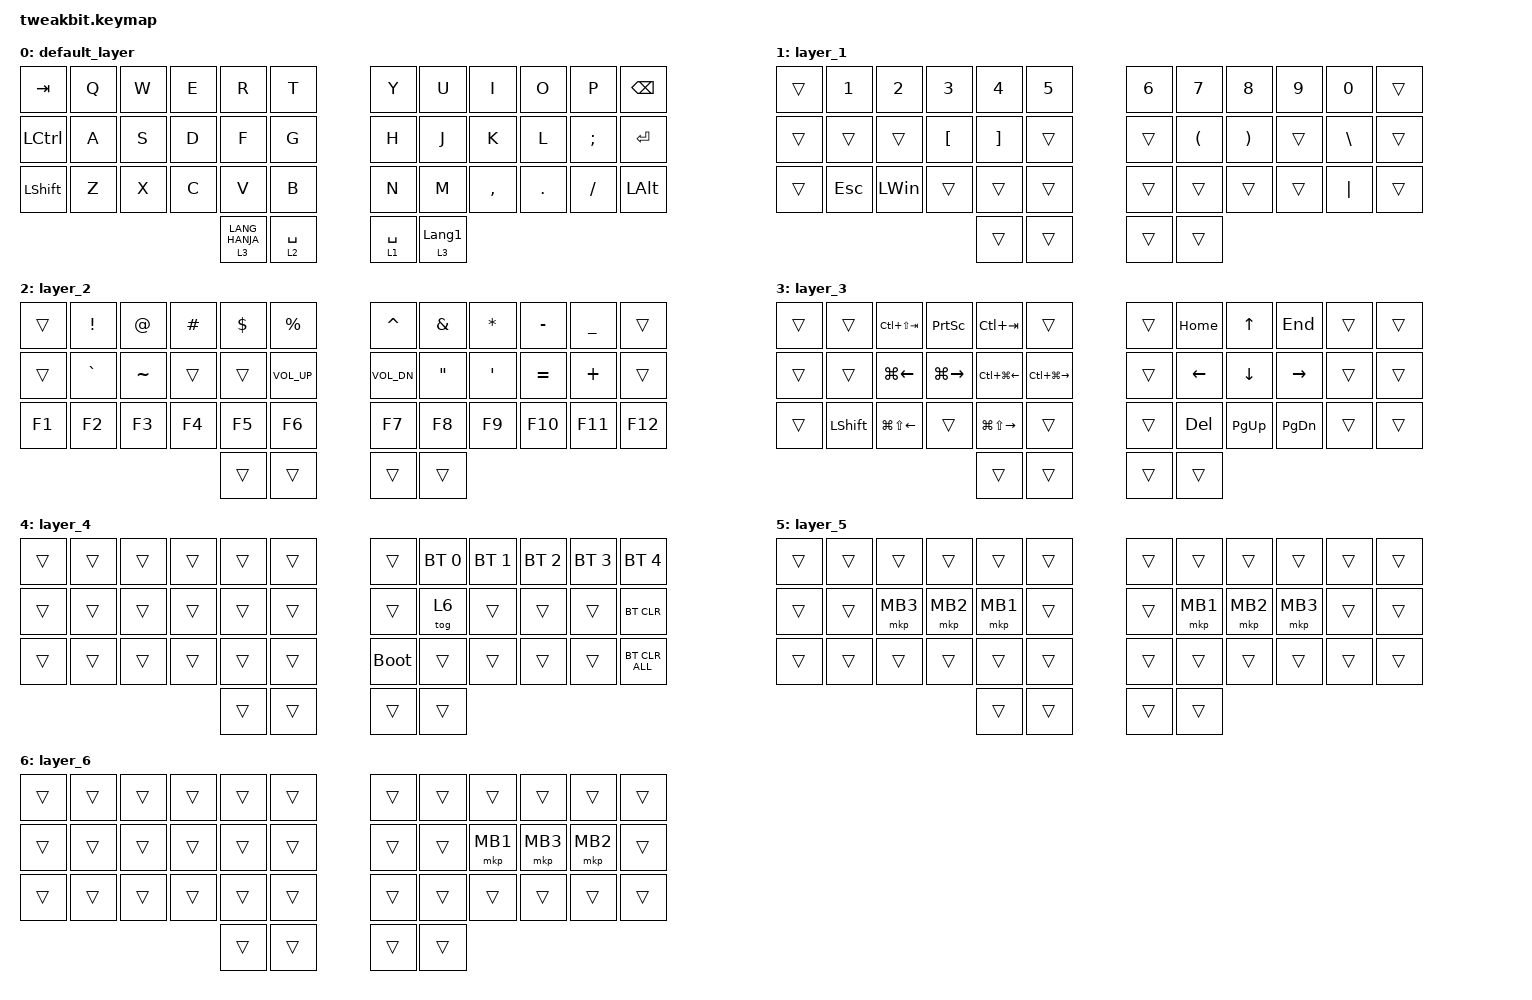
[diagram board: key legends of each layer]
#include <input/processors.dtsi>
#include <dt-bindings/zmk/input_transform.h>
#include <zephyr/dt-bindings/input/input-event-codes.h>
#include <behaviors.dtsi>
#include <dt-bindings/zmk/bt.h>
#include <dt-bindings/zmk/keys.h>
#include <dt-bindings/zmk/pointing.h>

#define ZMK_POINTING_DEFAULT_SCRL_VAL 100
#define MOUSE 5

&mt {
    flavor = "balanced";
    quick-tap-ms = <0>;
};

/ {
    combos {
        compatible = "zmk,combos";

        double_quotation {
            bindings = <&kp DOUBLE_QUOTES>;
            key-positions = <22 21>;
        };

        single_quotation {
            bindings = <&kp SINGLE_QUOTE>;
            key-positions = <21 20>;
        };
    };

    macros {
        to_layer_0: to_layer_0 {
            compatible = "zmk,behavior-macro-one-param";
            #binding-cells = <1>;
            bindings = <&to 0 &macro_param_1to1 &kp MACRO_PLACEHOLDER>;
            label = "TO_LAYER_0";
        };
    };

    behaviors {
        lt_to_layer_0: lt_to_layer_0 {
            compatible = "zmk,behavior-hold-tap";
            label = "LAYER_TAP_TO_0";
            bindings = <&mo>, <&to_layer_0>;

            #binding-cells = <2>;
            tapping-term-ms = <200>;
        };
    };

    keymap {
        compatible = "zmk,keymap";

        default_layer {
            bindings = <
&kp TAB         &kp Q  &kp W  &kp E  &kp R                        &kp T          &kp Y        &kp U                        &kp I      &kp O    &kp P          &kp BACKSPACE
&kp LCTRL       &kp A  &kp S  &kp D  &kp F                        &kp G          &kp H        &kp J                        &kp K      &kp L    &kp SEMICOLON  &kp ENTER
&kp LEFT_SHIFT  &kp Z  &kp X  &kp C  &kp V                        &kp B          &kp N        &kp M                        &kp COMMA  &kp DOT  &kp SLASH      &kp LEFT_ALT
                                     &lt_to_layer_0 3 LANG_HANJA  &lt 2 SPACE    &lt 1 SPACE  &lt_to_layer_0 3 LANGUAGE_1
            >;
        };

        layer_1 {
            bindings = <
&trans  &kp NUMBER_1  &kp NUMBER_2  &kp NUMBER_3      &kp NUMBER_4       &kp NUMBER_5    &kp NUMBER_6  &kp NUMBER_7          &kp NUMBER_8           &kp NUMBER_9  &kp NUMBER_0   &trans
&trans  &trans        &trans        &kp LEFT_BRACKET  &kp RIGHT_BRACKET  &trans          &trans        &kp LEFT_PARENTHESIS  &kp RIGHT_PARENTHESIS  &trans        &kp BACKSLASH  &trans
&trans  &kp ESC       &kp LEFT_WIN  &trans            &trans             &trans          &trans        &trans                &trans                 &trans        &kp PIPE       &trans
                                                      &trans             &trans          &trans        &trans
            >;
        };

        layer_2 {
            bindings = <
&trans  &kp EXCLAMATION  &kp AT_SIGN  &kp POUND  &kp DOLLAR  &kp PERCENT     &kp CARET     &kp AMPERSAND      &kp ASTERISK      &kp MINUS  &kp UNDERSCORE  &trans
&trans  &kp GRAVE        &kp TILDE    &trans     &trans      &kp C_VOL_UP    &kp C_VOL_DN  &kp DOUBLE_QUOTES  &kp SINGLE_QUOTE  &kp EQUAL  &kp PLUS        &trans
&kp F1  &kp F2           &kp F3       &kp F4     &kp F5      &kp F6          &kp F7        &kp F8             &kp F9            &kp F10    &kp F11         &kp F12
                                                 &trans      &trans          &trans        &trans
            >;
        };

        layer_3 {
            bindings = <
&trans  &trans          &kp LC(LS(TAB))         &kp PRINTSCREEN      &kp LC(TAB)              &trans                     &trans  &kp HOME        &kp UP_ARROW    &kp END          &trans  &trans
&trans  &trans          &kp LG(LEFT_ARROW)      &kp LG(RIGHT_ARROW)  &kp LC(LG(LEFT_ARROW))   &kp LC(LG(RIGHT_ARROW))    &trans  &kp LEFT_ARROW  &kp DOWN_ARROW  &kp RIGHT_ARROW  &trans  &trans
&trans  &kp LEFT_SHIFT  &kp LG(LS(LEFT_ARROW))  &trans               &kp LG(LS(RIGHT_ARROW))  &trans                     &trans  &kp DELETE      &kp PAGE_UP     &kp PAGE_DOWN    &trans  &trans
                                                                     &trans                   &trans                     &trans  &trans
            >;
        };

        layer_4 {
            bindings = <
&trans  &trans  &trans  &trans  &trans  &trans    &trans       &bt BT_SEL 0  &bt BT_SEL 1  &bt BT_SEL 2  &bt BT_SEL 3  &bt BT_SEL 4
&trans  &trans  &trans  &trans  &trans  &trans    &trans       &tog 6        &trans        &trans        &trans        &bt BT_CLR
&trans  &trans  &trans  &trans  &trans  &trans    &bootloader  &trans        &trans        &trans        &trans        &bt BT_CLR_ALL
                                &trans  &trans    &trans       &trans
            >;
        };

        layer_5 {
            bindings = <
&trans  &trans  &trans    &trans    &trans    &trans    &trans  &trans    &trans    &trans    &trans  &trans
&trans  &trans  &mkp MB3  &mkp MB2  &mkp MB1  &trans    &trans  &mkp MB1  &mkp MB2  &mkp MB3  &trans  &trans
&trans  &trans  &trans    &trans    &trans    &trans    &trans  &trans    &trans    &trans    &trans  &trans
                                    &trans    &trans    &trans  &trans
            >;
        };

        layer_6 {
            bindings = <
&trans  &trans  &trans  &trans  &trans  &trans    &trans  &trans  &trans    &trans    &trans    &trans
&trans  &trans  &trans  &trans  &trans  &trans    &trans  &trans  &mkp MB1  &mkp MB3  &mkp MB2  &trans
&trans  &trans  &trans  &trans  &trans  &trans    &trans  &trans  &trans    &trans    &trans    &trans
                                &trans  &trans    &trans  &trans
            >;
        };
    };

    // //right hand trackball overrides
    // &trackball_peripheral_listener {
    //     input-processors =
    //         <&zip_xy_transform INPUT_TRANSFORM_XY_SWAP>,//this gets it to the default installation orientation
    //         <&zip_temp_layer 3 500>;//activate layer 3 within 500ms of the trackball moving
    // };
    // //left hand trackball overrides
    // &trackball_central_listener {
    //     input-processors = 
    //         <&zip_xy_transform INPUT_TRANSFORM_XY_SWAP>,//this gets it to the default installation orientation
    //         <&zip_xy_scaler 1 3>,//multiply sensitivity by 1, divide by 3 (make it slower for scrolling)
    //         <&zip_xy_to_scroll_mapper>,//make this trackball output scrolling events by default instead of cursor movement
    //         <&zip_scroll_transform INPUT_TRANSFORM_Y_INVERT>;//invert vertical scrolling so that the view moves in the same direction as the top of the trackball.
    // };
};
